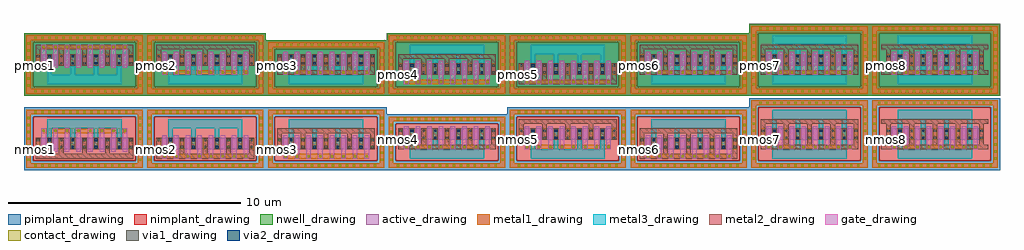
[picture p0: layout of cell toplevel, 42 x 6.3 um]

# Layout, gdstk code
import gdstk
lib = gdstk.Library(unit=1e-6, precision=1e-09)
def R(c, l, rs):  # rectangles x0, y0, x1, y1
    for r in rs: c.add(gdstk.rectangle(r[:2], r[2:], *l))
def A(c, l, x, y, w, h, nx, ny, dx, dy):  # array of equal rectangles
    R(c, l, [(x+i*dx, y+j*dy, x+i*dx+w, y+j*dy+h) for i in range(nx) for j in range(ny)])
active_drawing = (1, 0)
nwell_drawing = (3, 0)
pimplant_drawing = (4, 0)
nimplant_drawing = (5, 0)
gate_drawing = (6, 0)
contact_drawing = (7, 0)
metal1_drawing = (8, 0)
via1_drawing = (9, 0)
metal2_drawing = (10, 0)
via2_drawing = (11, 0)
metal3_drawing = (12, 0)

toplevel = lib.new_cell('toplevel')
A(toplevel, active_drawing, -0.65, -0.8, 5, 0.2, 7, 2, 5.2, 3.2)
A(toplevel, active_drawing, -0.25, 0, 4.2, 0.5, 3, 2, 5.2, 3.6)
A(toplevel, active_drawing, -0.65, 1.5, 5, 0.2, 3, 1, 5.2, 0)
A(toplevel, active_drawing, 14.95, 4.7, 5, 0.2, 3, 1, 5.2, 0)
R(toplevel, active_drawing, [(-0.65,-0.8,-0.45,1.7), (4.15,-0.8,4.35,1.7), (4.55,-0.8,4.75,1.7), (9.35,-0.8,9.55,1.7), (9.75,-0.8,9.95,1.7), (14.55,-0.8,14.75,1.7), (14.95,-0.8,15.15,1.4), (19.75,-0.8,19.95,1.4), (20.15,-0.8,20.35,1.7), (24.95,-0.8,25.15,1.7), (25.35,-0.8,25.55,1.7), (30.15,-0.8,30.35,1.7), (30.55,-0.8,30.75,2.1), (35.35,-0.8,35.55,2.1), (35.75,-0.8,35.95,2.1), (35.75,-0.8,41.15,-0.6), (40.95,-0.8,41.15,2.1), (25.75,0,29.95,0.5), (15.35,0.4,19.55,0.9), (20.55,0.4,24.75,0.9), (30.95,0.4,35.15,0.9), (36.35,0.4,40.55,0.9), (14.95,1.2,19.95,1.4), (20.15,1.5,25.15,1.7), (25.35,1.5,30.35,1.7), (30.55,1.9,35.55,2.1), (35.75,1.9,41.15,2.1), (-0.65,2.4,-0.45,4.9), (4.15,2.4,4.35,4.9), (4.55,2.4,4.75,4.9), (9.35,2.4,9.55,4.9), (9.75,2.4,9.95,4.6), (14.55,2.4,14.75,4.6), (14.95,2.4,15.15,4.9), (19.75,2.4,19.95,4.9), (20.15,2.4,20.35,4.9), (24.95,2.4,25.15,4.9), (25.35,2.4,25.55,4.9), (30.15,2.4,30.35,4.9), (30.55,2.4,30.75,5.3), (35.35,2.4,35.55,5.3), (35.75,2.4,35.95,5.3), (35.75,2.4,41.15,2.6), (40.95,2.4,41.15,5.3), (15.35,3.2,19.55,3.7), (20.55,3.2,24.75,3.7), (25.75,3.6,29.95,4.1), (30.95,3.6,35.15,4.1), (36.35,3.6,40.55,4.1), (9.75,4.4,14.75,4.6), (-0.65,4.7,4.35,4.9), (4.55,4.7,9.55,4.9), (30.55,5.1,35.55,5.3), (35.75,5.1,41.15,5.3)])
A(toplevel, nwell_drawing, 14.85, 2.3, 5.2, 2.7, 3, 1, 5.2, 0)
R(toplevel, nwell_drawing, [(-0.75,2.3,4.45,5), (4.45,2.3,9.65,5), (9.65,2.3,14.85,4.7), (30.45,2.3,35.65,5.4), (35.65,2.3,41.25,5.4)])
A(toplevel, pimplant_drawing, -0.75, -0.9, 5.2, 0.4, 7, 1, 5.2, 0)
A(toplevel, pimplant_drawing, -0.75, 1.4, 5.2, 0.4, 3, 1, 5.2, 0)
A(toplevel, pimplant_drawing, 15.25, 2.7, 4.4, 1.9, 3, 1, 5.2, 0)
R(toplevel, pimplant_drawing, [(-0.75,-0.9,-0.35,1.8), (4.05,-0.9,4.45,1.8), (4.45,-0.9,4.85,1.8), (9.25,-0.9,9.65,1.8), (9.65,-0.9,10.05,1.8), (14.45,-0.9,14.85,1.8), (14.85,-0.9,15.25,1.5), (19.65,-0.9,20.05,1.5), (20.05,-0.9,20.45,1.8), (24.85,-0.9,25.25,1.8), (25.25,-0.9,25.65,1.8), (30.05,-0.9,30.45,1.8), (30.45,-0.9,30.85,2.2), (35.25,-0.9,35.65,2.2), (35.65,-0.9,36.05,2.2), (35.65,-0.9,41.25,-0.5), (40.85,-0.9,41.25,2.2), (14.85,1.1,20.05,1.5), (20.05,1.4,25.25,1.8), (25.25,1.4,30.45,1.8), (30.45,1.8,35.65,2.2), (35.65,1.8,41.25,2.2), (-0.35,2.7,4.05,4.6), (4.85,2.7,9.25,4.6), (10.05,2.7,14.45,4.3), (30.85,2.7,35.25,5), (36.05,2.7,40.85,5)])
A(toplevel, nimplant_drawing, -0.35, -0.5, 4.4, 1.9, 3, 1, 5.2, 0)
A(toplevel, nimplant_drawing, -0.75, 2.3, 5.2, 0.4, 7, 1, 5.2, 0)
A(toplevel, nimplant_drawing, 14.85, 4.6, 5.2, 0.4, 3, 1, 5.2, 0)
R(toplevel, nimplant_drawing, [(15.25,-0.5,19.65,1.1), (20.45,-0.5,24.85,1.4), (25.65,-0.5,30.05,1.4), (30.85,-0.5,35.25,1.8), (36.05,-0.5,40.85,1.8), (-0.75,2.3,-0.35,5), (4.05,2.3,4.45,5), (4.45,2.3,4.85,5), (9.25,2.3,9.65,5), (9.65,2.3,10.05,4.7), (14.45,2.3,14.85,4.7), (14.85,2.3,15.25,5), (19.65,2.3,20.05,5), (20.05,2.3,20.45,5), (24.85,2.3,25.25,5), (25.25,2.3,25.65,5), (30.05,2.3,30.45,5), (30.45,2.3,30.85,5.4), (35.25,2.3,35.65,5.4), (35.65,2.3,36.05,5.4), (35.65,2.3,41.25,2.7), (40.85,2.3,41.25,5.4), (9.65,4.3,14.85,4.7), (-0.75,4.6,4.45,5), (4.45,4.6,9.65,5), (30.45,5,35.65,5.4), (35.65,5,41.25,5.4)])
A(toplevel, gate_drawing, 5.2, -0.4, 0.2, 1, 8, 2, 0.5, 3.6)
A(toplevel, gate_drawing, 10.4, -0.4, 0.2, 1, 8, 2, 0.5, 3.6)
A(toplevel, gate_drawing, 26, -0.4, 0.2, 1, 8, 2, 0.5, 3.6)
A(toplevel, gate_drawing, 0, -0.1, 0.2, 1, 8, 2, 0.5, 3.6)
A(toplevel, gate_drawing, 15.6, 0, 0.2, 1, 8, 2, 0.5, 2.8)
A(toplevel, gate_drawing, 20.8, 0, 0.2, 1, 8, 2, 0.5, 2.8)
A(toplevel, gate_drawing, 31.2, 0, 0.2, 1, 8, 2, 0.5, 3.2)
A(toplevel, gate_drawing, 36.6, 0, 0.2, 1, 8, 2, 0.5, 3.2)
A(toplevel, contact_drawing, -0.3, -0.75, 0.1, 0.1, 15, 2, 0.3, 2.3)
A(toplevel, contact_drawing, 4.9, -0.75, 0.1, 0.1, 15, 2, 0.3, 2.3)
A(toplevel, contact_drawing, 10.1, -0.75, 0.1, 0.1, 15, 2, 0.3, 2.3)
A(toplevel, contact_drawing, 15.3, -0.75, 0.1, 0.1, 15, 2, 0.3, 2)
A(toplevel, contact_drawing, 20.5, -0.75, 0.1, 0.1, 15, 2, 0.3, 2.3)
A(toplevel, contact_drawing, 25.7, -0.75, 0.1, 0.1, 15, 2, 0.3, 2.3)
A(toplevel, contact_drawing, 30.9, -0.75, 0.1, 0.1, 15, 2, 0.3, 2.7)
A(toplevel, contact_drawing, 36, -0.75, 0.1, 0.1, 17, 2, 0.3, 2.7)
A(toplevel, contact_drawing, -0.6, -0.5, 0.1, 0.1, 1, 7, 0, 0.3)
A(toplevel, contact_drawing, 4.2, -0.5, 0.1, 0.1, 1, 7, 0, 0.3)
A(toplevel, contact_drawing, 4.6, -0.5, 0.1, 0.1, 1, 7, 0, 0.3)
A(toplevel, contact_drawing, 9.4, -0.5, 0.1, 0.1, 1, 7, 0, 0.3)
A(toplevel, contact_drawing, 9.8, -0.5, 0.1, 0.1, 1, 7, 0, 0.3)
A(toplevel, contact_drawing, 14.6, -0.5, 0.1, 0.1, 1, 7, 0, 0.3)
A(toplevel, contact_drawing, 15, -0.5, 0.1, 0.1, 1, 6, 0, 0.3)
A(toplevel, contact_drawing, 19.8, -0.5, 0.1, 0.1, 1, 6, 0, 0.3)
A(toplevel, contact_drawing, 20.2, -0.5, 0.1, 0.1, 1, 7, 0, 0.3)
A(toplevel, contact_drawing, 25, -0.5, 0.1, 0.1, 1, 7, 0, 0.3)
A(toplevel, contact_drawing, 25.4, -0.5, 0.1, 0.1, 1, 7, 0, 0.3)
A(toplevel, contact_drawing, 30.2, -0.5, 0.1, 0.1, 1, 7, 0, 0.3)
A(toplevel, contact_drawing, 30.6, -0.45, 0.1, 0.1, 1, 8, 0, 0.3)
A(toplevel, contact_drawing, 35.4, -0.45, 0.1, 0.1, 1, 8, 0, 0.3)
A(toplevel, contact_drawing, 35.8, -0.45, 0.1, 0.1, 1, 8, 0, 0.3)
A(toplevel, contact_drawing, 41, -0.45, 0.1, 0.1, 1, 8, 0, 0.3)
A(toplevel, contact_drawing, 5.25, -0.35, 0.1, 0.1, 8, 2, 0.5, 3.6)
A(toplevel, contact_drawing, 10.45, -0.35, 0.1, 0.1, 8, 2, 0.5, 3.6)
A(toplevel, contact_drawing, 26.05, -0.35, 0.1, 0.1, 8, 2, 0.5, 3.6)
A(toplevel, contact_drawing, -0.2, 0.05, 0.1, 0.1, 9, 2, 0.5, 0.3)
A(toplevel, contact_drawing, 5, 0.05, 0.1, 0.1, 9, 2, 0.5, 0.3)
A(toplevel, contact_drawing, 10.2, 0.05, 0.1, 0.1, 9, 2, 0.5, 0.3)
A(toplevel, contact_drawing, 15.65, 0.05, 0.1, 0.1, 8, 2, 0.5, 2.8)
A(toplevel, contact_drawing, 20.85, 0.05, 0.1, 0.1, 8, 2, 0.5, 2.8)
A(toplevel, contact_drawing, 25.8, 0.05, 0.1, 0.1, 9, 2, 0.5, 0.3)
A(toplevel, contact_drawing, 31.25, 0.05, 0.1, 0.1, 8, 2, 0.5, 3.2)
A(toplevel, contact_drawing, 36.65, 0.05, 0.1, 0.1, 8, 2, 0.5, 3.2)
A(toplevel, contact_drawing, 15.4, 0.45, 0.1, 0.1, 9, 2, 0.5, 0.3)
A(toplevel, contact_drawing, 20.6, 0.45, 0.1, 0.1, 9, 2, 0.5, 0.3)
A(toplevel, contact_drawing, 31, 0.45, 0.1, 0.1, 9, 2, 0.5, 0.3)
A(toplevel, contact_drawing, 36.4, 0.45, 0.1, 0.1, 9, 2, 0.5, 0.3)
A(toplevel, contact_drawing, 0.05, 0.75, 0.1, 0.1, 8, 2, 0.5, 3.6)
A(toplevel, contact_drawing, -0.3, 2.45, 0.1, 0.1, 15, 2, 0.3, 2.3)
A(toplevel, contact_drawing, 4.9, 2.45, 0.1, 0.1, 15, 2, 0.3, 2.3)
A(toplevel, contact_drawing, 10.1, 2.45, 0.1, 0.1, 15, 2, 0.3, 2)
A(toplevel, contact_drawing, 15.3, 2.45, 0.1, 0.1, 15, 2, 0.3, 2.3)
A(toplevel, contact_drawing, 20.5, 2.45, 0.1, 0.1, 15, 2, 0.3, 2.3)
A(toplevel, contact_drawing, 25.7, 2.45, 0.1, 0.1, 15, 2, 0.3, 2.3)
A(toplevel, contact_drawing, 30.9, 2.45, 0.1, 0.1, 15, 2, 0.3, 2.7)
A(toplevel, contact_drawing, 36, 2.45, 0.1, 0.1, 17, 2, 0.3, 2.7)
A(toplevel, contact_drawing, -0.6, 2.7, 0.1, 0.1, 1, 7, 0, 0.3)
A(toplevel, contact_drawing, 4.2, 2.7, 0.1, 0.1, 1, 7, 0, 0.3)
A(toplevel, contact_drawing, 4.6, 2.7, 0.1, 0.1, 1, 7, 0, 0.3)
A(toplevel, contact_drawing, 9.4, 2.7, 0.1, 0.1, 1, 7, 0, 0.3)
A(toplevel, contact_drawing, 9.8, 2.7, 0.1, 0.1, 1, 6, 0, 0.3)
A(toplevel, contact_drawing, 14.6, 2.7, 0.1, 0.1, 1, 6, 0, 0.3)
A(toplevel, contact_drawing, 15, 2.7, 0.1, 0.1, 1, 7, 0, 0.3)
A(toplevel, contact_drawing, 19.8, 2.7, 0.1, 0.1, 1, 7, 0, 0.3)
A(toplevel, contact_drawing, 20.2, 2.7, 0.1, 0.1, 1, 7, 0, 0.3)
A(toplevel, contact_drawing, 25, 2.7, 0.1, 0.1, 1, 7, 0, 0.3)
A(toplevel, contact_drawing, 25.4, 2.7, 0.1, 0.1, 1, 7, 0, 0.3)
A(toplevel, contact_drawing, 30.2, 2.7, 0.1, 0.1, 1, 7, 0, 0.3)
A(toplevel, contact_drawing, 30.6, 2.75, 0.1, 0.1, 1, 8, 0, 0.3)
A(toplevel, contact_drawing, 35.4, 2.75, 0.1, 0.1, 1, 8, 0, 0.3)
A(toplevel, contact_drawing, 35.8, 2.75, 0.1, 0.1, 1, 8, 0, 0.3)
A(toplevel, contact_drawing, 41, 2.75, 0.1, 0.1, 1, 8, 0, 0.3)
A(toplevel, contact_drawing, 15.4, 3.25, 0.1, 0.1, 9, 2, 0.5, 0.3)
A(toplevel, contact_drawing, 20.6, 3.25, 0.1, 0.1, 9, 2, 0.5, 0.3)
A(toplevel, contact_drawing, -0.2, 3.65, 0.1, 0.1, 9, 2, 0.5, 0.3)
A(toplevel, contact_drawing, 5, 3.65, 0.1, 0.1, 9, 2, 0.5, 0.3)
A(toplevel, contact_drawing, 10.2, 3.65, 0.1, 0.1, 9, 2, 0.5, 0.3)
A(toplevel, contact_drawing, 25.8, 3.65, 0.1, 0.1, 9, 2, 0.5, 0.3)
A(toplevel, contact_drawing, 31, 3.65, 0.1, 0.1, 9, 2, 0.5, 0.3)
A(toplevel, contact_drawing, 36.4, 3.65, 0.1, 0.1, 9, 2, 0.5, 0.3)
A(toplevel, metal1_drawing, -0.65, -0.8, 5, 0.2, 7, 2, 5.2, 3.2)
A(toplevel, metal1_drawing, -0.25, 0, 0.2, 0.5, 9, 2, 0.5, 3.6)
A(toplevel, metal1_drawing, 4.95, 0, 0.2, 0.5, 9, 2, 0.5, 3.6)
A(toplevel, metal1_drawing, 10.15, 0, 0.2, 0.5, 9, 2, 0.5, 3.6)
A(toplevel, metal1_drawing, 25.75, 0, 0.2, 0.5, 9, 2, 0.5, 3.6)
A(toplevel, metal1_drawing, 15.35, 0.4, 0.2, 0.5, 9, 2, 0.5, 2.8)
A(toplevel, metal1_drawing, 20.55, 0.4, 0.2, 0.5, 9, 2, 0.5, 2.8)
A(toplevel, metal1_drawing, 30.95, 0.4, 0.2, 0.5, 9, 2, 0.5, 3.2)
A(toplevel, metal1_drawing, 36.35, 0.4, 0.2, 0.5, 9, 2, 0.5, 3.2)
A(toplevel, metal1_drawing, -0.65, 1.5, 5, 0.2, 3, 1, 5.2, 0)
A(toplevel, metal1_drawing, 14.95, 4.7, 5, 0.2, 3, 1, 5.2, 0)
R(toplevel, metal1_drawing, [(-0.65,-0.8,-0.45,1.7), (4.15,-0.8,4.35,1.7), (4.55,-0.8,4.75,1.7), (9.35,-0.8,9.55,1.7), (9.75,-0.8,9.95,1.7), (14.55,-0.8,14.75,1.7), (14.95,-0.8,15.15,1.4), (19.75,-0.8,19.95,1.4), (20.15,-0.8,20.35,1.7), (24.95,-0.8,25.15,1.7), (25.35,-0.8,25.55,1.7), (30.15,-0.8,30.35,1.7), (30.55,-0.8,30.75,2.1), (35.35,-0.8,35.55,2.1), (35.75,-0.8,35.95,2.1), (35.75,-0.8,41.15,-0.6), (40.95,-0.8,41.15,2.1), (5.2,-0.4,8.9,-0.2), (10.4,-0.4,14.1,-0.2), (26,-0.4,29.7,-0.2), (15.6,0,19.3,0.2), (20.8,0,24.5,0.2), (31.2,0,34.9,0.2), (36.6,0,40.3,0.2), (0,0.7,3.7,0.9), (14.95,1.2,19.95,1.4), (20.15,1.5,25.15,1.7), (25.35,1.5,30.35,1.7), (30.55,1.9,35.55,2.1), (35.75,1.9,41.15,2.1), (-0.65,2.4,-0.45,4.9), (4.15,2.4,4.35,4.9), (4.55,2.4,4.75,4.9), (9.35,2.4,9.55,4.9), (9.75,2.4,9.95,4.6), (14.55,2.4,14.75,4.6), (14.95,2.4,15.15,4.9), (19.75,2.4,19.95,4.9), (20.15,2.4,20.35,4.9), (24.95,2.4,25.15,4.9), (25.35,2.4,25.55,4.9), (30.15,2.4,30.35,4.9), (30.55,2.4,30.75,5.3), (35.35,2.4,35.55,5.3), (35.75,2.4,35.95,5.3), (35.75,2.4,41.15,2.6), (40.95,2.4,41.15,5.3), (15.6,2.8,19.3,3), (20.8,2.8,24.5,3), (5.2,3.2,8.9,3.4), (10.4,3.2,14.1,3.4), (26,3.2,29.7,3.4), (31.2,3.2,34.9,3.4), (36.6,3.2,40.3,3.4), (0,4.3,3.7,4.5), (9.75,4.4,14.75,4.6), (-0.65,4.7,4.35,4.9), (4.55,4.7,9.55,4.9), (30.55,5.1,35.55,5.3), (35.75,5.1,41.15,5.3)])
A(toplevel, via1_drawing, -0.2, 0.05, 0.1, 0.1, 9, 2, 0.5, 0.3)
A(toplevel, via1_drawing, 5, 0.05, 0.1, 0.1, 9, 2, 0.5, 0.3)
A(toplevel, via1_drawing, 10.2, 0.05, 0.1, 0.1, 9, 2, 0.5, 0.3)
A(toplevel, via1_drawing, 25.8, 0.05, 0.1, 0.1, 9, 2, 0.5, 0.3)
A(toplevel, via1_drawing, 15.4, 0.45, 0.1, 0.1, 9, 2, 0.5, 0.3)
A(toplevel, via1_drawing, 20.6, 0.45, 0.1, 0.1, 9, 2, 0.5, 0.3)
A(toplevel, via1_drawing, 31, 0.45, 0.1, 0.1, 9, 2, 0.5, 0.3)
A(toplevel, via1_drawing, 36.4, 0.45, 0.1, 0.1, 9, 2, 0.5, 0.3)
A(toplevel, via1_drawing, 15.4, 3.25, 0.1, 0.1, 9, 2, 0.5, 0.3)
A(toplevel, via1_drawing, 20.6, 3.25, 0.1, 0.1, 9, 2, 0.5, 0.3)
A(toplevel, via1_drawing, -0.2, 3.65, 0.1, 0.1, 9, 2, 0.5, 0.3)
A(toplevel, via1_drawing, 5, 3.65, 0.1, 0.1, 9, 2, 0.5, 0.3)
A(toplevel, via1_drawing, 10.2, 3.65, 0.1, 0.1, 9, 2, 0.5, 0.3)
A(toplevel, via1_drawing, 25.8, 3.65, 0.1, 0.1, 9, 2, 0.5, 0.3)
A(toplevel, via1_drawing, 31, 3.65, 0.1, 0.1, 9, 2, 0.5, 0.3)
A(toplevel, via1_drawing, 36.4, 3.65, 0.1, 0.1, 9, 2, 0.5, 0.3)
A(toplevel, metal2_drawing, -0.25, -0.2, 0.2, 0.2, 5, 2, 1, 4.3)
A(toplevel, metal2_drawing, 4.95, -0.2, 0.2, 0.2, 5, 2, 1, 4.3)
A(toplevel, metal2_drawing, 25.75, -0.2, 0.2, 0.2, 5, 2, 1, 0.7)
A(toplevel, metal2_drawing, -0.25, 0, 0.2, 0.5, 9, 2, 0.5, 3.6)
A(toplevel, metal2_drawing, 4.95, 0, 0.2, 0.5, 9, 2, 0.5, 3.6)
A(toplevel, metal2_drawing, 10.15, 0, 0.2, 0.5, 9, 2, 0.5, 3.6)
A(toplevel, metal2_drawing, 25.75, 0, 0.2, 0.5, 9, 2, 0.5, 3.6)
A(toplevel, metal2_drawing, 15.35, 0.2, 0.2, 0.2, 5, 2, 1, 3.5)
A(toplevel, metal2_drawing, 30.95, 0.2, 0.2, 0.2, 5, 2, 1, 0.7)
A(toplevel, metal2_drawing, 36.35, 0.2, 0.2, 0.2, 5, 2, 1, 0.7)
A(toplevel, metal2_drawing, 15.35, 0.4, 0.2, 0.5, 9, 2, 0.5, 2.8)
A(toplevel, metal2_drawing, 20.55, 0.4, 0.2, 0.5, 9, 2, 0.5, 2.8)
A(toplevel, metal2_drawing, 30.95, 0.4, 0.2, 0.5, 9, 2, 0.5, 3.2)
A(toplevel, metal2_drawing, 36.35, 0.4, 0.2, 0.5, 9, 2, 0.5, 3.2)
A(toplevel, metal2_drawing, 10.15, 0.5, 0.2, 0.2, 5, 2, 1, 2.9)
A(toplevel, metal2_drawing, 20.55, 0.9, 0.2, 0.2, 5, 2, 1, 2.1)
A(toplevel, metal2_drawing, 25.75, 3.4, 0.2, 0.2, 5, 2, 1, 0.7)
A(toplevel, metal2_drawing, 30.95, 3.4, 0.2, 0.2, 5, 2, 1, 0.7)
A(toplevel, metal2_drawing, 36.35, 3.4, 0.2, 0.2, 5, 2, 1, 0.7)
R(toplevel, metal2_drawing, [(-0.25,-0.4,3.95,-0.2), (4.95,-0.4,9.15,-0.2), (25.75,-0.4,29.95,-0.2), (15.35,0,19.55,0.2), (30.95,0,35.15,0.2), (36.15,0,40.75,0.2), (10.15,0.7,14.35,0.9), (25.75,0.7,29.95,0.9), (20.55,1.1,24.75,1.3), (30.95,1.1,35.15,1.3), (36.15,1.1,40.75,1.3), (20.55,2.8,24.75,3), (10.15,3.2,14.35,3.4), (25.75,3.2,29.95,3.4), (30.95,3.2,35.15,3.4), (36.15,3.2,40.75,3.4), (15.35,3.9,19.55,4.1), (-0.25,4.3,3.95,4.5), (4.95,4.3,9.15,4.5), (25.75,4.3,29.95,4.5), (30.95,4.3,35.15,4.5), (36.15,4.3,40.75,4.5)])
A(toplevel, via2_drawing, 0.3, 0.05, 0.1, 0.1, 4, 2, 1, 0.3)
A(toplevel, via2_drawing, 5.5, 0.05, 0.1, 0.1, 4, 2, 1, 0.3)
A(toplevel, via2_drawing, 10.7, 0.05, 0.1, 0.1, 4, 2, 1, 0.3)
A(toplevel, via2_drawing, 26.3, 0.05, 0.1, 0.1, 4, 2, 1, 0.3)
A(toplevel, via2_drawing, 15.9, 0.45, 0.1, 0.1, 4, 2, 1, 0.3)
A(toplevel, via2_drawing, 21.1, 0.45, 0.1, 0.1, 4, 2, 1, 0.3)
A(toplevel, via2_drawing, 31.5, 0.45, 0.1, 0.1, 4, 2, 1, 0.3)
A(toplevel, via2_drawing, 36.9, 0.45, 0.1, 0.1, 4, 2, 1, 0.3)
A(toplevel, via2_drawing, 15.9, 3.25, 0.1, 0.1, 4, 2, 1, 0.3)
A(toplevel, via2_drawing, 21.1, 3.25, 0.1, 0.1, 4, 2, 1, 0.3)
A(toplevel, via2_drawing, 0.3, 3.65, 0.1, 0.1, 4, 2, 1, 0.3)
A(toplevel, via2_drawing, 5.5, 3.65, 0.1, 0.1, 4, 2, 1, 0.3)
A(toplevel, via2_drawing, 10.7, 3.65, 0.1, 0.1, 4, 2, 1, 0.3)
A(toplevel, via2_drawing, 26.3, 3.65, 0.1, 0.1, 4, 2, 1, 0.3)
A(toplevel, via2_drawing, 31.5, 3.65, 0.1, 0.1, 4, 2, 1, 0.3)
A(toplevel, via2_drawing, 36.9, 3.65, 0.1, 0.1, 4, 2, 1, 0.3)
A(toplevel, metal3_drawing, 0.25, 0, 0.2, 0.5, 4, 2, 1, 3.6)
A(toplevel, metal3_drawing, 5.45, 0, 0.2, 0.5, 4, 2, 1, 3.6)
A(toplevel, metal3_drawing, 10.65, 0, 0.2, 0.5, 4, 2, 1, 3.6)
A(toplevel, metal3_drawing, 15.85, 0, 0.2, 0.4, 4, 2, 1, 3.7)
A(toplevel, metal3_drawing, 21.05, 0, 0.2, 0.4, 4, 2, 1, 3.7)
A(toplevel, metal3_drawing, 26.25, 0, 0.2, 0.5, 4, 2, 1, 3.6)
A(toplevel, metal3_drawing, 31.45, 0, 0.2, 0.4, 4, 2, 1, 0.9)
A(toplevel, metal3_drawing, 36.85, 0, 0.2, 0.4, 4, 2, 1, 0.9)
A(toplevel, metal3_drawing, 15.85, 0.4, 0.2, 0.5, 4, 2, 1, 2.8)
A(toplevel, metal3_drawing, 21.05, 0.4, 0.2, 0.5, 4, 2, 1, 2.8)
A(toplevel, metal3_drawing, 31.45, 0.4, 0.2, 0.5, 4, 2, 1, 3.2)
A(toplevel, metal3_drawing, 36.85, 0.4, 0.2, 0.5, 4, 2, 1, 3.2)
A(toplevel, metal3_drawing, 0.25, 0.5, 0.2, 0.4, 4, 2, 1, 2.7)
A(toplevel, metal3_drawing, 5.45, 0.5, 0.2, 0.4, 4, 2, 1, 2.7)
A(toplevel, metal3_drawing, 10.65, 0.5, 0.2, 0.4, 4, 2, 1, 2.7)
A(toplevel, metal3_drawing, 26.25, 0.5, 0.2, 0.4, 4, 2, 1, 2.7)
A(toplevel, metal3_drawing, 0.25, 0.9, 3.2, 0.4, 3, 2, 5.2, 1.9)
A(toplevel, metal3_drawing, 31.45, 3.2, 0.2, 0.4, 4, 2, 1, 0.9)
A(toplevel, metal3_drawing, 36.85, 3.2, 0.2, 0.4, 4, 2, 1, 0.9)
R(toplevel, metal3_drawing, [(15.85,-0.4,19.05,0), (21.05,-0.4,24.25,0), (31.45,-0.4,34.65,0), (36.85,-0.4,40.05,0), (26.25,0.9,29.45,1.3), (31.45,1.3,34.65,1.7), (36.85,1.3,40.05,1.7), (26.25,2.8,29.45,3.2), (31.45,2.8,34.65,3.2), (36.85,2.8,40.05,3.2), (15.85,4.1,19.05,4.5), (21.05,4.1,24.25,4.5), (31.45,4.5,34.65,4.9), (36.85,4.5,40.05,4.9)])
toplevel.add(gdstk.Label('nmos1', (-0.25,0), layer=234, texttype=0))
toplevel.add(gdstk.Label('nmos2', (4.95,0), layer=234, texttype=0))
toplevel.add(gdstk.Label('nmos3', (10.15,0), layer=234, texttype=0))
toplevel.add(gdstk.Label('nmos4', (15.35,0.4), layer=234, texttype=0))
toplevel.add(gdstk.Label('nmos5', (20.55,0.4), layer=234, texttype=0))
toplevel.add(gdstk.Label('nmos6', (25.75,0), layer=234, texttype=0))
toplevel.add(gdstk.Label('nmos7', (30.95,0.4), layer=234, texttype=0))
toplevel.add(gdstk.Label('nmos8', (36.35,0.4), layer=234, texttype=0))
toplevel.add(gdstk.Label('pmos1', (-0.25,3.6), layer=234, texttype=0))
toplevel.add(gdstk.Label('pmos2', (4.95,3.6), layer=234, texttype=0))
toplevel.add(gdstk.Label('pmos3', (10.15,3.6), layer=234, texttype=0))
toplevel.add(gdstk.Label('pmos4', (15.35,3.2), layer=234, texttype=0))
toplevel.add(gdstk.Label('pmos5', (20.55,3.2), layer=234, texttype=0))
toplevel.add(gdstk.Label('pmos6', (25.75,3.6), layer=234, texttype=0))
toplevel.add(gdstk.Label('pmos7', (30.95,3.6), layer=234, texttype=0))
toplevel.add(gdstk.Label('pmos8', (36.35,3.6), layer=234, texttype=0))

lib.write_gds('toplevel.gds')
